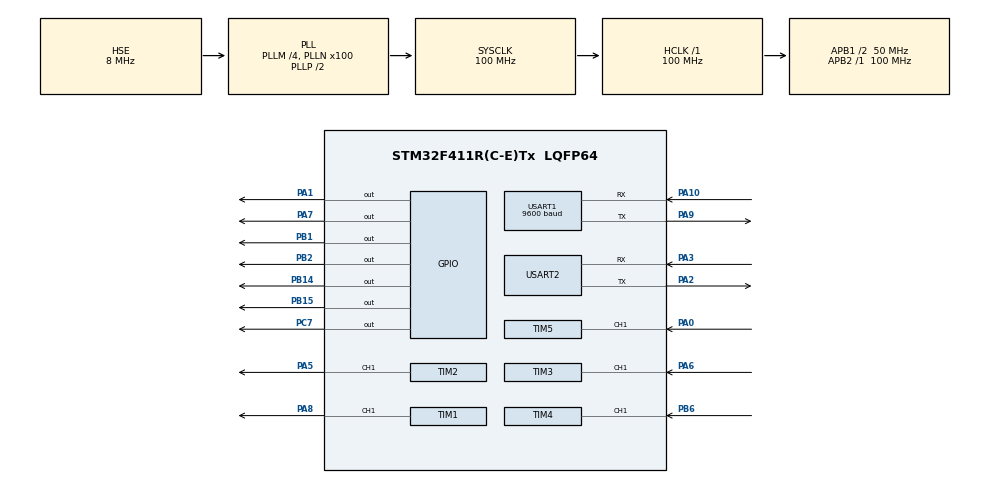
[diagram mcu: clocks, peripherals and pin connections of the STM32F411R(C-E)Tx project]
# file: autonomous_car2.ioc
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Dma.Request0=USART1_RX
Dma.USART1_RX.0.Direction=DMA_PERIPH_TO_MEMORY
Dma.USART1_RX.0.FIFOMode=DMA_FIFOMODE_DISABLE
Dma.USART1_RX.0.Instance=DMA2_Stream2
Dma.USART1_RX.0.MemDataAlignment=DMA_MDATAALIGN_BYTE
Dma.USART1_RX.0.MemInc=DMA_MINC_ENABLE
Dma.USART1_RX.0.Mode=DMA_NORMAL
Dma.USART1_RX.0.PeriphDataAlignment=DMA_PDATAALIGN_BYTE
Dma.USART1_RX.0.PeriphInc=DMA_PINC_DISABLE
Dma.USART1_RX.0.Priority=DMA_PRIORITY_LOW
Mcu.Family=STM32F4
Mcu.Name=STM32F411R(C-E)Tx
Mcu.Package=LQFP64
NVIC.DMA2_Stream2_IRQn=true\:0\:0\:false\:false\:true\:false\:true\:true
NVIC.PriorityGroup=NVIC_PRIORITYGROUP_4
NVIC.TIM3_IRQn=true\:0\:0\:false\:false\:true\:true\:true\:true
NVIC.TIM4_IRQn=true\:0\:0\:false\:false\:true\:true\:true\:true
NVIC.TIM5_IRQn=true\:0\:0\:false\:false\:true\:true\:true\:true
PA0-WKUP.Signal=S_TIM5_CH1
PA1.Signal=GPIO_Output
PA10.Mode=Asynchronous
PA10.Signal=USART1_RX
PA13.Mode=Serial_Wire
PA13.Signal=SYS_JTMS-SWDIO
PA14.Mode=Serial_Wire
PA14.Signal=SYS_JTCK-SWCLK
PA2.Mode=Asynchronous
PA2.Signal=USART2_TX
PA3.Mode=Asynchronous
PA3.Signal=USART2_RX
PA5.Signal=S_TIM2_CH1_ETR
PA6.Signal=S_TIM3_CH1
PA7.Signal=GPIO_Output
PA8.Signal=S_TIM1_CH1
PA9.Mode=Asynchronous
PA9.Signal=USART1_TX
PB1.Signal=GPIO_Output
PB14.Signal=GPIO_Output
PB15.Signal=GPIO_Output
PB2.Signal=GPIO_Output
PB6.Signal=S_TIM4_CH1
PC7.Signal=GPIO_Output
PH0\ -\ OSC_IN.Mode=HSE-External-Oscillator
PH0\ -\ OSC_IN.Signal=RCC_OSC_IN
PH1\ -\ OSC_OUT.Mode=HSE-External-Oscillator
PH1\ -\ OSC_OUT.Signal=RCC_OSC_OUT
ProjectManager.HeapSize=0x200
ProjectManager.StackSize=0x400
ProjectManager.TargetToolchain=STM32CubeIDE
RCC.48MHZClocksFreq_Value=50000000
RCC.AHBFreq_Value=100000000
RCC.APB1CLKDivider=RCC_HCLK_DIV2
RCC.APB1Freq_Value=50000000
RCC.APB1TimFreq_Value=100000000
RCC.APB2Freq_Value=100000000
RCC.APB2TimFreq_Value=100000000
RCC.CortexFreq_Value=100000000
RCC.HCLKFreq_Value=100000000
RCC.HSE_VALUE=8000000
RCC.HSI_VALUE=16000000
RCC.LSE_VALUE=32768
RCC.PLLM=4
RCC.PLLN=100
RCC.PLLSourceVirtual=RCC_PLLSOURCE_HSE
RCC.SYSCLKFreq_VALUE=100000000
RCC.SYSCLKSource=RCC_SYSCLKSOURCE_PLLCLK
RCC.VCOOutputFreq_Value=200000000
SH.S_TIM1_CH1.0=TIM1_CH1,PWM Generation1 CH1
SH.S_TIM2_CH1_ETR.0=TIM2_CH1,PWM Generation1 CH1
SH.S_TIM3_CH1.0=TIM3_CH1,Input_Capture1_from_TI1
SH.S_TIM4_CH1.0=TIM4_CH1,Input_Capture1_from_TI1
SH.S_TIM5_CH1.0=TIM5_CH1,Input_Capture1_from_TI1
TIM1.Channel-PWM\ Generation1\ CH1=TIM_CHANNEL_1
TIM1.Period=1000-1
TIM1.Prescaler=1000-1
TIM10.Period=10000-1
TIM10.Prescaler=10000-1
TIM11.Period=100-1
TIM11.Prescaler=100-1
TIM2.Channel-PWM\ Generation1\ CH1=TIM_CHANNEL_1
TIM2.Period=1000-1
TIM2.Prescaler=1000-1
TIM3.Channel-Input_Capture1_from_TI1=TIM_CHANNEL_1
TIM3.ICFilter_CH1=15
TIM3.Prescaler=100-1
TIM4.Channel-Input_Capture1_from_TI1=TIM_CHANNEL_1
TIM4.ICFilter_CH1=15
TIM4.Prescaler=100-1
TIM5.Channel-Input_Capture1_from_TI1=TIM_CHANNEL_1
TIM5.ICFilter_CH1=15
TIM5.Prescaler=100-1
USART1.BaudRate=9600
USART1.VirtualMode=VM_ASYNC
USART2.VirtualMode=VM_ASYNC
VP_TIM10_VS_ClockSourceINT.Mode=Enable_Timer
VP_TIM11_VS_ClockSourceINT.Mode=Enable_Timer
VP_TIM1_VS_ClockSourceINT.Mode=Internal
VP_TIM2_VS_ClockSourceINT.Mode=Internal
VP_TIM3_VS_ClockSourceINT.Mode=Internal
VP_TIM4_VS_ClockSourceINT.Mode=Internal
VP_TIM5_VS_ClockSourceINT.Mode=Internal
board=custom

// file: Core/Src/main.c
/* USER CODE BEGIN Header */
/**
 ******************************************************************************
 * @file           : main.c
 * @brief          : Main program body
 ******************************************************************************
 * @attention
 *
 * Copyright (c) 2023 STMicroelectronics.
 * All rights reserved.
 *
 * This software is licensed under terms that can be found in the LICENSE file
 * in the root directory of this software component.
 * If no LICENSE file comes with this software, it is provided AS-IS.
 *
 ******************************************************************************
 */
/* USER CODE END Header */
#include "main.h"
#include "dma.h"
#include "tim.h"
#include "usart.h"
#include "gpio.h"

/* USER CODE BEGIN Includes */

#include "stdio.h"
#include "delay.h"

/* USER CODE END Includes */

/* USER CODE BEGIN PM */

#ifdef __GNUC__
/* With GCC, small printf (option LD Linker->Libraries->Small printf
     set to 'Yes') calls __io_putchar() */
#define PUTCHAR_PROTOTYPE int __io_putchar(int ch)
#else
#define PUTCHAR_PROTOTYPE int fputc(int ch, FILE *f)
#endif /* __GNUC__ */

PUTCHAR_PROTOTYPE
{
  /* Place your implementation of fputc here */
  /* e.g. write a character to the EVAL_COM1 and Loop until the end of transmission */
  HAL_UART_Transmit(&huart2, (uint8_t *)&ch, 1, 0xFFFF);
  HAL_UART_Transmit(&huart1, (uint8_t*) &ch, 1, 0xFFFF);

  return ch;
}

/* USER CODE END PM */

/* USER CODE BEGIN PV */

uint32_t INC_Value11 = 0;
uint32_t INC_Value12 = 0;

uint32_t INC_Value21 = 0;
uint32_t INC_Value22= 0;

uint32_t INC_Value31= 0;
uint32_t INC_Value32 = 0;

uint32_t echoTime1 = 0;
uint32_t echoTime2 = 0;
uint32_t echoTime3 = 0;

uint8_t captureFlag1 = 0;
uint8_t captureFlag2 = 0;
uint8_t captureFlag3 = 0;

uint8_t distance1  = 0;
uint8_t distance2  = 0;
uint8_t distance3  = 0;

uint8_t rxData[1];

int mode = 1;
int SPEED = 300;

volatile uint32_t counter;

int set_back_flag = 0;
char flag[15] = "INIT";

//uint8_t Is_First_Captured = 0;  // is the first value captured ?

/* USER CODE END PV */

void SystemClock_Config(void);
/* USER CODE BEGIN PFP */

void HAL_TIM_IC_CaptureCallback(TIM_HandleTypeDef *htim)
{
  if (htim == &htim3)  // if the interrupt source is channel1
  {
    if (captureFlag1 == 0) // if the first value is not captured
    {
      INC_Value11 = HAL_TIM_ReadCapturedValue(htim, TIM_CHANNEL_1); // read the first value
      captureFlag1 = 1;  // set the first captured as true

      // Now change the polarity to falling edge
      __HAL_TIM_SET_CAPTUREPOLARITY(htim, TIM_CHANNEL_1, TIM_INPUTCHANNELPOLARITY_FALLING);
    }

    else if (captureFlag1 == 1)   // if the first is already captured
    {
      INC_Value12 = HAL_TIM_ReadCapturedValue(htim, TIM_CHANNEL_1);  // read second value
      __HAL_TIM_SET_COUNTER(htim, 0);  // reset the counter

      if (INC_Value12 > INC_Value11)
      {
        echoTime1 = INC_Value12-INC_Value11;
      }

      else if (INC_Value11 > INC_Value12)
      {
        echoTime1 = (0xffff - INC_Value11) + INC_Value12;
      }

      //distance = echoTime * .034/2;
      distance1 = echoTime1 / 58;
      captureFlag1 = 0; // set it back to false

      // set polarity to rising edge
      __HAL_TIM_SET_CAPTUREPOLARITY(htim, TIM_CHANNEL_1, TIM_INPUTCHANNELPOLARITY_RISING);
      __HAL_TIM_DISABLE_IT(htim, TIM_IT_CC1);
    }
  }
  else if (htim == &htim4)  // if the interrupt source is channel1
  {
    if (captureFlag2 == 0) // if the first value is not captured
    {
      INC_Value21 = HAL_TIM_ReadCapturedValue(htim, TIM_CHANNEL_1); // read the first value
      captureFlag2 = 1;  // set the first captured as true

      // Now change the polarity to falling edge
      __HAL_TIM_SET_CAPTUREPOLARITY(htim, TIM_CHANNEL_1, TIM_INPUTCHANNELPOLARITY_FALLING);
    }

    else if (captureFlag2 == 1)   // if the first is already captured
    {
      INC_Value22 = HAL_TIM_ReadCapturedValue(htim, TIM_CHANNEL_1);  // read second value
      __HAL_TIM_SET_COUNTER(htim, 0);  // reset the counter

      if (INC_Value22 > INC_Value21)
      {
        echoTime2 = INC_Value22 - INC_Value21;
      }

      else if (INC_Value21 > INC_Value22)
      {
        echoTime2 = (0xffff - INC_Value21) + INC_Value22;
      }

      //distance = echoTime * .034/2;
      distance2 = echoTime2 / 58;
      captureFlag2 = 0; // set it back to false

      // set polarity to rising edge
      __HAL_TIM_SET_CAPTUREPOLARITY(htim, TIM_CHANNEL_1, TIM_INPUTCHANNELPOLARITY_RISING);
      __HAL_TIM_DISABLE_IT(htim, TIM_IT_CC1);
    }
  }
  else if (htim == &htim5)  // if the interrupt source is channel1
  {
    if (captureFlag3 == 0) // if the first value is not captured
    {
      INC_Value31 = HAL_TIM_ReadCapturedValue(htim, TIM_CHANNEL_1); // read the first value
      captureFlag3 = 1;  // set the first captured as true

      // Now change the polarity to falling edge
      __HAL_TIM_SET_CAPTUREPOLARITY(htim, TIM_CHANNEL_1, TIM_INPUTCHANNELPOLARITY_FALLING);
    }

    else if (captureFlag3 == 1)   // if the first is already captured
    {
      INC_Value32 = HAL_TIM_ReadCapturedValue(htim, TIM_CHANNEL_1);  // read second value
      __HAL_TIM_SET_COUNTER(htim, 0);  // reset the counter

      if (INC_Value32 > INC_Value31)
      {
        echoTime3 = INC_Value32-INC_Value31;
      }

      else if (INC_Value31 > INC_Value32)
      {
        echoTime3 = (0xffff - INC_Value31) + INC_Value32;
      }

      //distance = echoTime * .034/2;
      distance3 = echoTime3 / 58;
      captureFlag3 = 0; // set it back to false

      // set polarity to rising edge
      __HAL_TIM_SET_CAPTUREPOLARITY(htim, TIM_CHANNEL_1, TIM_INPUTCHANNELPOLARITY_RISING);
      __HAL_TIM_DISABLE_IT(htim, TIM_IT_CC1);
    }
  }
}

void HCSR04_Read (GPIO_TypeDef* port, uint8_t pin, TIM_HandleTypeDef* htim)
{
  HAL_GPIO_WritePin(port, pin, GPIO_PIN_SET);  // pull the TRIG pin HIGH
  delay_us(10);  // wait for 10 us
  HAL_GPIO_WritePin(port, pin, GPIO_PIN_RESET);  // pull the TRIG pin low

  __HAL_TIM_ENABLE_IT(htim, TIM_IT_CC1);
}

void HAL_UART_RxCpltCallback(UART_HandleTypeDef *huart)
{
  HAL_UART_Receive_DMA(&huart1, rxData, sizeof(rxData));
  //      HAL_UART_Receive_IT(&huart1, rxData, sizeof(rxData));
  //      HAL_UART_Transmit_IT(&huart2, rxData, sizeof(rxData));

  //  else if(huart->Instance == USART2)
  //  {
  //      HAL_UART_Receive_IT(&huart2, rxData, sizeof(rxData));
  //  }
  if(rxData[0] == 'M')
  {
    mode = 1;
  }
  else if(rxData[0] == 'A')
  {
    mode = 2;
  }

  if(rxData[0] == 'u')
  {
    SPEED += 100;

    if (SPEED > 1000)
    {
      SPEED = 999;
    }
  }
  else if(rxData[0] == 'i')
  {
    SPEED -= 100;

    if (SPEED < 0)
    {
      SPEED = 0;
    }
  }
}

void forward()
{
  HAL_GPIO_WritePin(GPIOB, GPIO_PIN_15, 0);
  HAL_GPIO_WritePin(GPIOB, GPIO_PIN_14, 1);
  HAL_GPIO_WritePin(GPIOB, GPIO_PIN_1, 0);
  HAL_GPIO_WritePin(GPIOB, GPIO_PIN_2, 1);
}

void backward()
{
  HAL_GPIO_WritePin(GPIOB, GPIO_PIN_15, 1);
  HAL_GPIO_WritePin(GPIOB, GPIO_PIN_14, 0);
  HAL_GPIO_WritePin(GPIOB, GPIO_PIN_1, 1);
  HAL_GPIO_WritePin(GPIOB, GPIO_PIN_2, 0);
}

void left()
{
  HAL_GPIO_WritePin(GPIOB, GPIO_PIN_15, 0);
  HAL_GPIO_WritePin(GPIOB, GPIO_PIN_14, 1);
  HAL_GPIO_WritePin(GPIOB, GPIO_PIN_1, 1);
  HAL_GPIO_WritePin(GPIOB, GPIO_PIN_2, 0);
}
void right()
{
  HAL_GPIO_WritePin(GPIOB, GPIO_PIN_15, 1);
  HAL_GPIO_WritePin(GPIOB, GPIO_PIN_14, 0);
  HAL_GPIO_WritePin(GPIOB, GPIO_PIN_1, 0);
  HAL_GPIO_WritePin(GPIOB, GPIO_PIN_2, 1);
}
void stop()
{
  HAL_GPIO_WritePin(GPIOB, GPIO_PIN_15, 0);
  HAL_GPIO_WritePin(GPIOB, GPIO_PIN_14, 0);
  HAL_GPIO_WritePin(GPIOB, GPIO_PIN_1, 0);
  HAL_GPIO_WritePin(GPIOB, GPIO_PIN_2, 0);
}
/* USER CODE END PFP */

int main(void)
{

  /* MCU Configuration--------------------------------------------------------*/

  /* Reset of all peripherals, Initializes the Flash interface and the Systick. */
  HAL_Init();

  /* Configure the system clock */
  SystemClock_Config();

  /* Initialize all configured peripherals */
  MX_GPIO_Init();
  MX_DMA_Init();
  MX_TIM1_Init();
  MX_TIM2_Init();
  MX_TIM3_Init();
  MX_TIM4_Init();
  MX_TIM5_Init();
  MX_USART1_UART_Init();
  MX_USART2_UART_Init();
  MX_TIM11_Init();
  MX_TIM10_Init();
  /* USER CODE BEGIN 2 */
  HAL_UART_Receive_DMA(&huart1, rxData, sizeof(rxData));

  HAL_TIM_PWM_Start(&htim1, TIM_CHANNEL_1);
  HAL_TIM_PWM_Start(&htim2, TIM_CHANNEL_1);

  HAL_TIM_IC_Start_IT(&htim3, TIM_CHANNEL_1);
  HAL_TIM_IC_Start_IT(&htim4, TIM_CHANNEL_1);
  HAL_TIM_IC_Start_IT(&htim5, TIM_CHANNEL_1);

  HAL_TIM_Base_Start_IT(&htim11);

  HAL_TIM_Base_Start(&htim10);

  //  HAL_UART_Receive_IT(&huart1, rxData, 1);

  /* USER CODE END 2 */

  /* Infinite loop */
  /* USER CODE BEGIN WHILE */
  while (1)
  {
    //      counter = __HAL_TIM_GET_COUNTER(&htim10);
    //      if (counter == 5000)
    //      {
    //          printf("%d \r\n", SPEED);
    //      }
    mode=2;
    if(mode == 0)
    {
      HCSR04_Read(GPIOA, GPIO_PIN_7, &htim3);
      HCSR04_Read(GPIOC, GPIO_PIN_7, &htim4);
      HCSR04_Read(GPIOA, GPIO_PIN_1, &htim5);

      if (__HAL_TIM_GET_COUNTER(&htim10) % 100 == 0)
      {
        printf("%d || %d || %d             %s\r\n", distance2, distance1, distance3, flag);
      }
      //forward 1,0 backward 0,1 brake 1,1

      //if wall brake and set flag
      if(distance1 <= 15 && set_back_flag == 0)
      {
        HAL_GPIO_WritePin(GPIOB, GPIO_PIN_15, 1);
        HAL_GPIO_WritePin(GPIOB, GPIO_PIN_14, 1);
        HAL_GPIO_WritePin(GPIOB, GPIO_PIN_1, 1);
        HAL_GPIO_WritePin(GPIOB, GPIO_PIN_2, 1);
        set_back_flag = 1;
        strcpy(flag, "Brake!!");
      }

      //back flag set
      if(set_back_flag == 1)
      {
        if(distance1 >= 20)
        {
          set_back_flag = 0;
          strcpy(flag, "BACKWARD OFF");
        }
        else
        {
          backward();
          TIM1->CCR1 = 250;
          TIM2->CCR1 = 250;
          strcpy(flag, "BACKWARD ON");
        }
      }
      else
      {
        strcpy(flag, "FORWARD ON");
        forward();

        if(distance2 <= 28 || distance3 <= 28)
        {
          if (distance2 < distance3) //right
          {
            strcpy(flag, "-------------->");
            TIM1->CCR1 = 250;
            TIM2->CCR1 = 0;
          }
          else //left
          {
            strcpy(flag, "<--------------");
            TIM1->CCR1 = 0;
            TIM2->CCR1 = 250;
          }
        }
        else
        {
          TIM1->CCR1 = 250;
          TIM2->CCR1 = 250;
        }
      }
    }
    else if(mode == 1)
    {
      if(rxData[0] == 'w')
      {
        forward();

        TIM1->CCR1 = SPEED;
        TIM2->CCR1 = SPEED;
      }
      else if(rxData[0] == 's')
      {
        backward();

        TIM1->CCR1 = SPEED;
        TIM2->CCR1 = SPEED;
      }
      else if(rxData[0] == 'a')
      {
        left();

        TIM1->CCR1 = SPEED;
        TIM2->CCR1 = SPEED;
      }
      else if(rxData[0] == 'd')
      {
        right();

        TIM1->CCR1 = SPEED;
        TIM2->CCR1 = SPEED;
      }
      else if(rxData[0] == 'k')
      {
        stop();
      }
    }
    ////////////////////////////////////////////////////////////////////////////////////////////////////////////////////////////////////

    else if(mode == 2)
    {
      delay_us(50);
      HCSR04_Read(GPIOA, GPIO_PIN_7, &htim3);
      delay_us(50);
      HCSR04_Read(GPIOC, GPIO_PIN_7, &htim4);
      delay_us(50);
      HCSR04_Read(GPIOA, GPIO_PIN_1, &htim5);
      delay_us(50);

      //distance 40 over
      if(distance1>40)
      {
        forward();
        TIM1->CCR1 = 380;
        TIM2->CCR1 = 380;
        if(distance2<10 || distance3 <10)
        {
          if(distance2<distance3)
          {
            right();
            TIM1->CCR1 = 0;
            TIM2->CCR1 = 800;
          }
          else if(distance2>distance3)
          {
            left();
            TIM1->CCR1 = 0;
            TIM2->CCR1 = 800;
          }
          else
          {
            backward();
            TIM1->CCR1 = 360;
            TIM2->CCR1 = 360;
          }
        }
      }
      //distance 33over
      else if(distance1<=40 && distance1>33)
      {
        forward();
        TIM1->CCR1 = 360;
        TIM2->CCR1 = 360;
        if(distance2<20 || distance3 <20)
        {
          if(distance2<distance3)
          {
            right();
            TIM1->CCR1 = 700;
            TIM2->CCR1 = 700;
          }
          else if(distance2>distance3)
          {
            left();
            TIM1->CCR1 = 700;
            TIM2->CCR1 = 700;
          }
          else
          {
            backward();
            TIM1->CCR1 = 340;
            TIM2->CCR1 = 340;
          }
        }
      }
      //distance 25over
      else if(distance1<=33 && distance1>25)
      {
        forward();
        TIM1->CCR1 = 340;
        TIM2->CCR1 = 340;
        if(distance2<20 || distance3 <20)
        {
          if(distance2<distance3)
          {
            right();
            TIM1->CCR1 = 700;
            TIM2->CCR1 = 700;
          }
          else if(distance2>distance3)
          {
            left();
            TIM1->CCR1 = 700;
            TIM2->CCR1 = 700;
          }
          else
          {
            backward();
            TIM1->CCR1 = 320;
            TIM2->CCR1 = 320;
          }
        }
      }
      //distance 18over
      else if(distance1<=25 && distance1>18)
      {
        forward();
        TIM1->CCR1 = 320;
        TIM2->CCR1 = 320;
        if(distance2<20 || distance3 <20)
        {
          if(distance2<distance3)
          {
            right();
            TIM1->CCR1 = 600;
            TIM2->CCR1 = 600;
          }
          else if(distance2>distance3)
          {
            left();
            TIM1->CCR1 = 600;
            TIM2->CCR1 = 600;
          }
          else
          {
            backward();
            TIM1->CCR1 = 300;
            TIM2->CCR1 = 300;
          }
        }
      }
      //distance 10over
      else if(distance1<=18 && distance1>10)
      {
        if(distance2<20 || distance3 <20)
        {
          forward();
          TIM1->CCR1 = 300;
          TIM2->CCR1 = 300;
          if(distance2<distance3)
          {
            right();
            TIM1->CCR1 = 600;
            TIM2->CCR1 = 600;
          }
          else if(distance2>distance3)
          {
            left();
            TIM1->CCR1 = 600;
            TIM2->CCR1 = 600;
          }
          else
          {
            backward();
            TIM1->CCR1 = 300;
            TIM2->CCR1 = 300;
          }
        }
      }
      //distance 10under
      else if(distance1<=10)
      {
        backward();
        TIM1->CCR1 = 450;
        TIM2->CCR1 = 450;
      }
    }

    /* USER CODE END WHILE */

  }
}

void SystemClock_Config(void)
{
  RCC_OscInitTypeDef RCC_OscInitStruct = {0};
  RCC_ClkInitTypeDef RCC_ClkInitStruct = {0};

  /** Configure the main internal regulator output voltage
   */
  __HAL_RCC_PWR_CLK_ENABLE();
  __HAL_PWR_VOLTAGESCALING_CONFIG(PWR_REGULATOR_VOLTAGE_SCALE1);

  /** Initializes the RCC Oscillators according to the specified parameters
   * in the RCC_OscInitTypeDef structure.
   */
  RCC_OscInitStruct.OscillatorType = RCC_OSCILLATORTYPE_HSE;
  RCC_OscInitStruct.HSEState = RCC_HSE_ON;
  RCC_OscInitStruct.PLL.PLLState = RCC_PLL_ON;
  RCC_OscInitStruct.PLL.PLLSource = RCC_PLLSOURCE_HSE;
  RCC_OscInitStruct.PLL.PLLM = 4;
  RCC_OscInitStruct.PLL.PLLN = 100;
  RCC_OscInitStruct.PLL.PLLP = RCC_PLLP_DIV2;
  RCC_OscInitStruct.PLL.PLLQ = 4;
  if (HAL_RCC_OscConfig(&RCC_OscInitStruct) != HAL_OK)
  {
    Error_Handler();
  }

  /** Initializes the CPU, AHB and APB buses clocks
   */
  RCC_ClkInitStruct.ClockType = RCC_CLOCKTYPE_HCLK|RCC_CLOCKTYPE_SYSCLK
      |RCC_CLOCKTYPE_PCLK1|RCC_CLOCKTYPE_PCLK2;
  RCC_ClkInitStruct.SYSCLKSource = RCC_SYSCLKSOURCE_PLLCLK;
  RCC_ClkInitStruct.AHBCLKDivider = RCC_SYSCLK_DIV1;
  RCC_ClkInitStruct.APB1CLKDivider = RCC_HCLK_DIV2;
  RCC_ClkInitStruct.APB2CLKDivider = RCC_HCLK_DIV1;

  if (HAL_RCC_ClockConfig(&RCC_ClkInitStruct, FLASH_LATENCY_3) != HAL_OK)
  {
    Error_Handler();
  }
}

void Error_Handler(void)
{
  __disable_irq();
  while (1)
  {
  }
}
